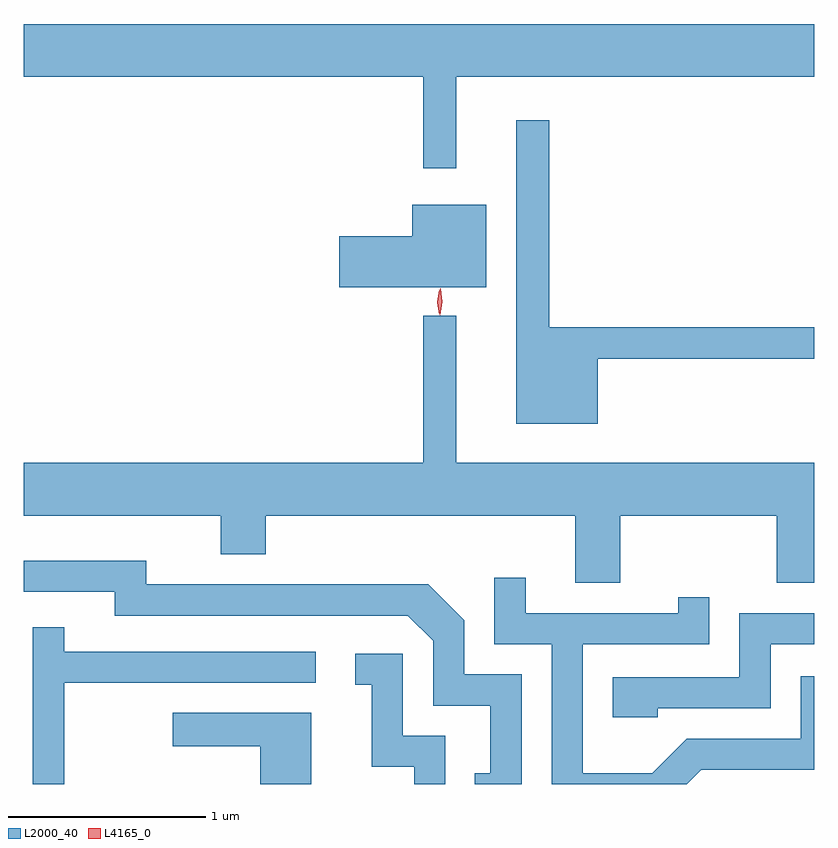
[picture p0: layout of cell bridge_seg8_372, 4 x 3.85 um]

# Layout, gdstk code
import gdstk
lib = gdstk.Library(unit=1e-6, precision=1e-09)
def P(c, l, *ps):  # polygons
    for p in ps: c.add(gdstk.Polygon(p, *l))
L2000_40 = (2000, 40)
L4165_0 = (4165, 0)

bridge_seg8_372 = lib.new_cell('bridge_seg8_372')
P(bridge_seg8_372, L2000_40, [(711.319,1938.536),(713.13,1938.536),(713.13,1938.804),(709.13,1938.804),(709.13,1938.536),(711.151,1938.536),(711.151,1938.073),(711.319,1938.073)],
  [(712.034,1937.111),(713.13,1937.111),(713.13,1937.269),(711.789,1937.269),(711.789,1938.318),(711.621,1938.318),(711.621,1936.781),(712.034,1936.781)],
  [(711.469,1937.889),(711.096,1937.889),(711.096,1937.729),(710.726,1937.729),(710.726,1937.471),(711.469,1937.471)],
  [(712.149,1936.316),(712.941,1936.316),(712.941,1935.976),(713.13,1935.976),(713.13,1936.584),(711.319,1936.584),(711.319,1937.328),(711.151,1937.328),(711.151,1936.584),(709.13,1936.584),(709.13,1936.316),(710.126,1936.316),(710.126,1936.121),(710.354,1936.121),(710.354,1936.316),(711.921,1936.316),(711.921,1935.976),(712.149,1935.976)],
  [(711.649,1935.514),(711.359,1935.514),(711.359,1935.787),(711.177,1935.969),(709.749,1935.969),(709.749,1936.089),(709.13,1936.089),(709.13,1935.931),(709.591,1935.931),(709.591,1935.811),(711.074,1935.811),(711.201,1935.684),(711.201,1935.356),(711.491,1935.356),(711.491,1935.014),(711.413,1935.014),(711.413,1934.959),(711.649,1934.959)],
  [(712.557,1935.031),(713.13,1935.031),(713.13,1935.504),(713.061,1935.504),(713.061,1935.189),(712.484,1935.189),(712.309,1935.014),(711.959,1935.014),(711.959,1935.666),(712.599,1935.666),(712.599,1935.903),(712.441,1935.903),(712.441,1935.824),(711.669,1935.824),(711.669,1936.003),(711.511,1936.003),(711.511,1935.666),(711.801,1935.666),(711.801,1934.959),(712.485,1934.959)],
  [(712.339,1935.341),(712.909,1935.341),(712.909,1935.666),(713.13,1935.666),(713.13,1935.824),(712.751,1935.824),(712.751,1935.499),(712.111,1935.499),(712.111,1935.296),(712.339,1935.296)],
  [(709.334,1935.471),(710.608,1935.471),(710.608,1935.629),(709.334,1935.629),(709.334,1935.753),(709.176,1935.753),(709.176,1934.959),(709.334,1934.959)],
  [(711.264,1935.204),(711.049,1935.204),(711.049,1935.619),(710.808,1935.619),(710.808,1935.461),(710.891,1935.461),(710.891,1935.046),(711.106,1935.046),(711.106,1934.959),(711.264,1934.959)],
  [(710.584,1935.319),(709.883,1935.319),(709.883,1935.151),(710.326,1935.151),(710.326,1934.959),(710.584,1934.959)])
P(bridge_seg8_372, L4165_0, [(711.232,1937.333),(711.232,1937.333),(711.222,1937.396),(711.232,1937.459),(711.232,1937.46),(711.233,1937.459),(711.242,1937.396),(711.233,1937.333)],
  [(711.237,1937.33),(711.228,1937.398),(711.238,1937.465),(711.239,1937.466),(711.239,1937.465),(711.248,1937.398),(711.238,1937.33),(711.238,1937.33)])

lib.write_gds('bridge_seg8_372.gds')
